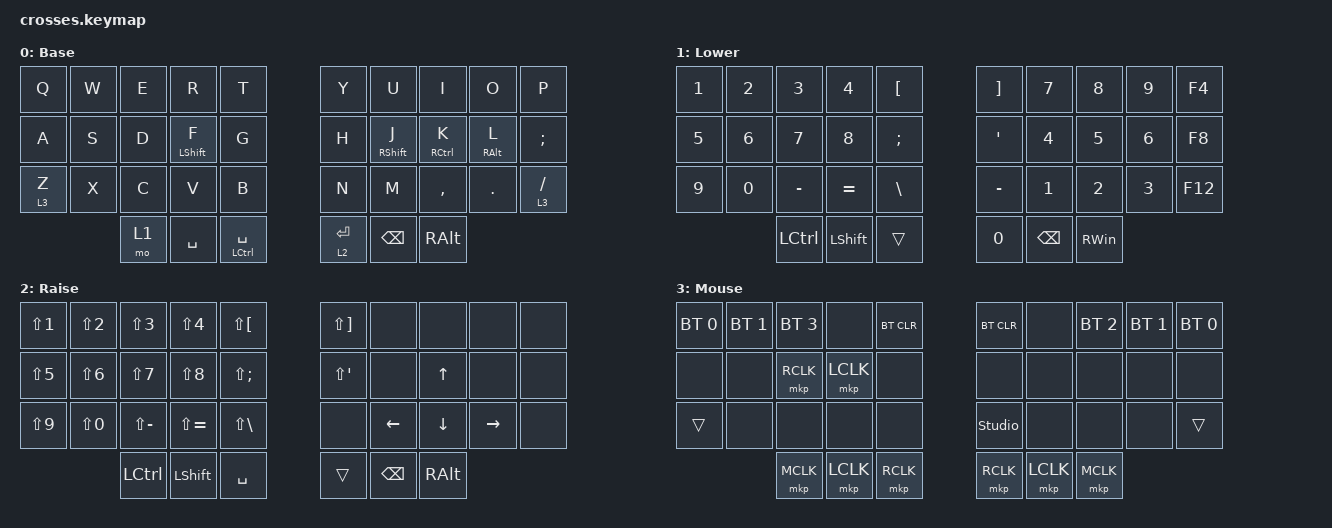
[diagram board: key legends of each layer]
#include <behaviors.dtsi>
#include <dt-bindings/zmk/bt.h>
#include <dt-bindings/zmk/keys.h>
#include <dt-bindings/zmk/pointing.h>

/ {
    chosen { zmk,physical-layout = &gggw_crosses_36_layout; };

    behaviors {
        as: auto_shift {
            compatible = "zmk,behavior-hold-tap";
            #binding-cells = <2>;
            tapping_term_ms = <200>;
            quick_tap_ms = <0>;
            flavor = "tap-preferred";
            bindings = <&kp>, <&kp>;
        };
    };

    combos {
        compatible = "zmk,combos";

        esc {
            bindings = <&kp ESCAPE>;
            key-positions = <12 13>;
        };

        enter {
            bindings = <&kp ENTER>;
            key-positions = <11 12>;
        };

        delete {
            bindings = <&kp DEL>;
            key-positions = <2 3>;
        };

        backspace {
            bindings = <&kp BACKSPACE>;
            key-positions = <2 1>;
        };

        tab {
            bindings = <&kp TAB>;
            key-positions = <2 13>;
        };

        enter_right {
            bindings = <&kp ENTER>;
            key-positions = <17 18>;
        };

        backspace_right {
            bindings = <&kp BACKSPACE>;
            key-positions = <16 17>;
        };

        waver {
            bindings = <&kp TILDE>;
            key-positions = <11 2>;
        };

        space {
            bindings = <&kp SPACE>;
            key-positions = <11 12 13>;
        };
    };

    keymap {
        compatible = "zmk,keymap";

        default_layer {
            display-name = "Base";
            bindings = <
&kp Q    &kp W  &kp E  &kp R             &kp T            &kp Y        &kp U          &kp I          &kp O       &kp P
&kp A    &kp S  &kp D  &mt LEFT_SHIFT F  &kp G            &kp H        &mt RSHFT J    &mt RCTRL K    &mt RALT L  &kp SEMICOLON
&lt 3 Z  &kp X  &kp C  &kp V             &kp B            &kp N        &kp M          &kp COMMA      &kp DOT     &lt 3 SLASH
                &mo 1  &kp SPACE         &mt LCTRL SPACE  &lt 2 ENTER  &kp BACKSPACE  &kp RIGHT_ALT
            >;
        };

        lower_layer {
            display-name = "Lower";
            bindings = <
&kp NUMBER_1  &kp NUMBER_2  &kp NUMBER_3  &kp NUMBER_4    &kp LEFT_BRACKET  &kp RIGHT_BRACKET  &kp N7         &kp N8         &kp N9  &kp F4
&kp NUMBER_5  &kp NUMBER_6  &kp NUMBER_7  &kp NUMBER_8    &kp SEMICOLON     &kp SQT            &kp N4         &kp N5         &kp N6  &kp F8
&kp NUMBER_9  &kp NUMBER_0  &kp MINUS     &kp EQUAL       &kp BACKSLASH     &kp MINUS          &kp N1         &kp N2         &kp N3  &kp F12
                            &kp LCTRL     &kp LEFT_SHIFT  &trans            &kp N0             &kp BACKSPACE  &kp RIGHT_WIN
            >;
        };

        raise_layer {
            display-name = "Raise";
            bindings = <
&kp LS(N1)  &kp LS(N2)  &kp LS(N3)     &kp LS(N4)      &kp LS(LEFT_BRACKET)  &kp LS(RIGHT_BRACKET)  &none           &none           &none            &none
&kp LS(N5)  &kp LS(N6)  &kp LS(N7)     &kp LS(N8)      &kp LS(SEMICOLON)     &kp LS(SQT)            &none           &kp UP_ARROW    &none            &none
&kp LS(N9)  &kp LS(N0)  &kp LS(MINUS)  &kp LS(EQUAL)   &kp LS(BACKSLASH)     &none                  &kp LEFT_ARROW  &kp DOWN_ARROW  &kp RIGHT_ARROW  &none
                        &kp LCTRL      &kp LEFT_SHIFT  &kp SPACE             &trans                 &kp BACKSPACE   &kp RIGHT_ALT
            >;
        };

        mouse_layer {
            display-name = "Mouse";
            bindings = <
&bt BT_SEL 0  &bt BT_SEL 1  &bt BT_SEL 3  &none      &bt BT_CLR  &bt BT_CLR      &none      &bt BT_SEL 2  &bt BT_SEL 1  &bt BT_SEL 0
&none         &none         &mkp RCLK     &mkp LCLK  &none       &none           &none      &none         &none         &none
&trans        &none         &none         &none      &none       &studio_unlock  &none      &none         &none         &trans
                            &mkp MCLK     &mkp LCLK  &mkp RCLK   &mkp RCLK       &mkp LCLK  &mkp MCLK
            >;
        };
    };
};
